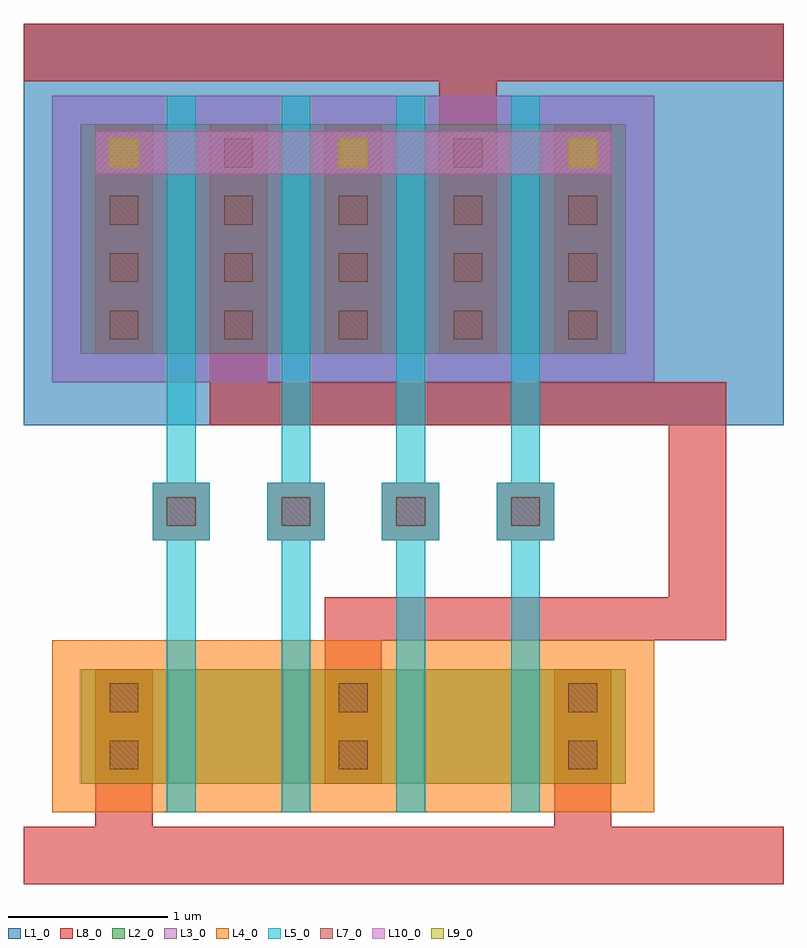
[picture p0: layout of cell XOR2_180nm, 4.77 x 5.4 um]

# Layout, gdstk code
import gdstk
lib = gdstk.Library(unit=1e-6, precision=1e-12)
def R(c, l, rs):  # rectangles x0, y0, x1, y1
    for r in rs: c.add(gdstk.rectangle(r[:2], r[2:], *l))
def A(c, l, x, y, w, h, nx, ny, dx, dy):  # array of equal rectangles
    R(c, l, [(x+i*dx, y+j*dy, x+i*dx+w, y+j*dy+h) for i in range(nx) for j in range(ny)])
L1_0 = (1, 0)
L2_0 = (2, 0)
L3_0 = (3, 0)
L4_0 = (4, 0)
L5_0 = (5, 0)
L7_0 = (7, 0)
L8_0 = (8, 0)
L9_0 = (9, 0)
L10_0 = (10, 0)

xor2_180nm = lib.new_cell('XOR2_180nm')
R(xor2_180nm, L1_0, [(0,2.88,4.77,5.4)])
A(xor2_180nm, L2_0, 0.36, 0.63, 0.54, 0.72, 5, 1, 0.72, 0)
A(xor2_180nm, L2_0, 0.9, 0.63, 0.18, 0.72, 4, 1, 0.72, 0)
A(xor2_180nm, L2_0, 0.36, 3.33, 0.54, 1.44, 5, 1, 0.72, 0)
A(xor2_180nm, L2_0, 0.9, 3.33, 0.18, 1.44, 4, 1, 0.72, 0)
R(xor2_180nm, L3_0, [(0.18,3.15,3.96,4.95)])
R(xor2_180nm, L4_0, [(0.18,0.45,3.96,1.53)])
A(xor2_180nm, L5_0, 0.9, 0.45, 0.18, 4.5, 4, 1, 0.72, 0)
A(xor2_180nm, L5_0, 0.81, 2.16, 0.36, 0.36, 4, 1, 0.72, 0)
A(xor2_180nm, L7_0, 0.54, 0.72, 0.18, 0.18, 3, 2, 1.44, 0.36)
A(xor2_180nm, L7_0, 0.9, 2.25, 0.18, 0.18, 4, 1, 0.72, 0)
A(xor2_180nm, L7_0, 0.54, 3.42, 0.18, 0.18, 5, 4, 0.72, 0.36)
A(xor2_180nm, L8_0, 0.81, 2.16, 0.36, 0.36, 4, 1, 0.72, 0)
A(xor2_180nm, L8_0, 0.45, 3.33, 0.36, 1.44, 3, 1, 1.44, 0)
R(xor2_180nm, L8_0, [(0,0,4.77,0.36), (0.45,0,0.81,1.35), (3.33,0,3.69,1.35), (1.89,0.63,2.25,1.8), (1.89,1.53,4.41,1.8), (4.05,1.53,4.41,3.15), (1.17,2.88,1.53,4.77), (1.17,2.88,4.41,3.15), (2.61,3.33,2.97,5.4), (0,5.04,4.77,5.4)])
A(xor2_180nm, L9_0, 0.54, 4.5, 0.18, 0.18, 3, 1, 1.44, 0)
R(xor2_180nm, L10_0, [(0.45,4.455,3.69,4.725)])

lib.write_gds('XOR2_180nm.gds')
